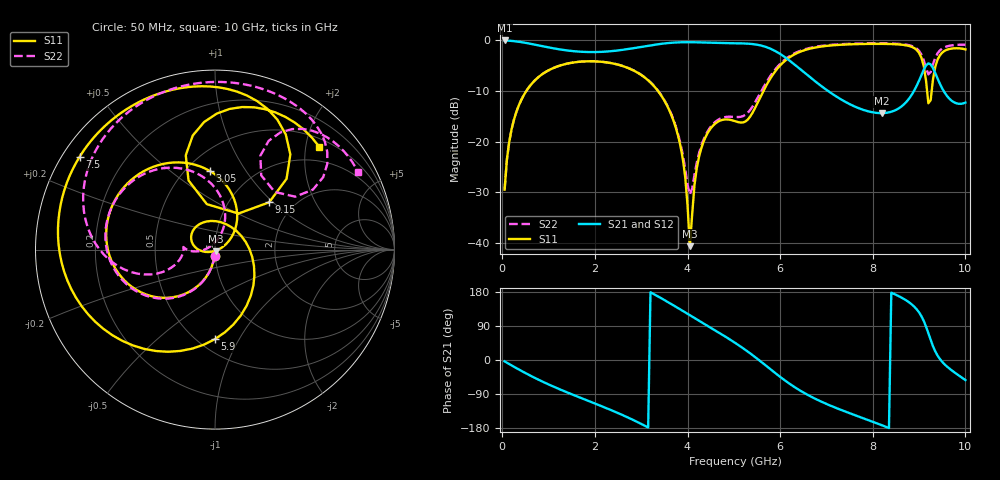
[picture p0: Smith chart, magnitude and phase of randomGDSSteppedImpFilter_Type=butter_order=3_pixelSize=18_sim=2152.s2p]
! freq	dB(S11)	phase(S11)	dB(S12)	phase(S12)
!  dB(S21)	phase(S21)	dB(S22)	phase(S22)
!S-par simulation data
#  GHz  S  DB  R 50
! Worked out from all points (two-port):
!   200 points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, 50 MHz to 10 GHz, reference 50 ohm
!   highest |S21| = -0.01 dB at 50 MHz (marker M1); lowest = -14.4 dB at 8.2 GHz (marker M2)
!   |S21| within 3 dB of the highest: start of sweep to 6.056 GHz
!   lowest |S11| = -40.6 dB at 4.05 GHz (marker M3), VSWR 1.02, Z = 50.4 - j0.858 ohm
!   |S11| at or under -10 dB: start of sweep to 517.9 MHz; 3.363 GHz to 5.637 GHz (2.274 GHz wide, 50.5 % of centre); 9.173 GHz to 9.272 GHz (98.84 MHz wide, 1.07 % of centre)
!   |S22| runs from -30.4 to -0.6 dB; largest |S21 - S12| = 0
!   S11 on the Smith chart (normalised r, x): 50 MHz: 0.99, -0.07; 3.05 GHz: 0.64, +0.70; 5.9 GHz: 0.60, -0.80; 7.5 GHz: 0.05, +0.31; 9.15 GHz: 1.51, +0.95; 10 GHz: 0.67, +2.28
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0.05  -29.44 -93.7  -0.01 -3.6  -0.01 -3.6  -29.44 -93.6
0.2  -17.57 -104.8  -0.10 -14.2  -0.10 -14.2  -17.57 -104.5
0.5  -10.25 -125.4  -0.48 -34.5  -0.48 -34.5  -10.24 -124.7
1.75  -4.16 165.4  -2.26 -102.7  -2.26 -102.7  -4.15 168.5
3.05  -7.14 93.8  -1.21 -171.7  -1.21 -171.7  -7.11 104.2
3.4  -10.45 69.2  -0.71 165.2  -0.71 165.2  -10.38 84.7
3.85  -20.96 31.5  -0.37 133.0  -0.37 133.0  -20.48 68.8
4.05  -40.60 -65.9  -0.35 118.3  -0.35 118.3  -30.40 124.4
4.15  -28.53 -158.6  -0.37 111.0  -0.37 111.0  -26.50 173.5
4.35  -19.90 177.0  -0.42 96.3  -0.42 96.3  -19.49 -174.4
5.05  -16.01 88.1  -0.57 43.4  -0.57 43.4  -15.12 177.8
5.9  -6.03 -90.1  -2.13 -35.1  -2.13 -35.1  -5.66 -168.0
6.7  -1.51 -168.3  -7.67 -98.8  -7.67 -98.8  -1.37 143.5
7.5  -0.78 145.6  -12.57 -140.3  -12.57 -140.3  -0.67 106.1
8.2  -0.68 112.5  -14.35 -172.2  -14.35 -172.2  -0.59 77.9
8.35  -0.71 105.2  -14.20 -179.6  -14.20 -179.6  -0.61 71.7
8.85  -1.31 74.2  -10.60 145.8  -10.60 145.8  -1.13 47.6
9.15  -7.94 41.1  -4.95 88.1  -4.95 88.1  -5.42 33.4
9.25  -11.80 100.1  -4.73 52.6  -4.73 52.6  -6.25 58.1
9.35  -5.19 107.2  -6.46 22.6  -6.46 22.6  -3.40 63.7
9.6  -1.85 79.2  -10.93 -17.0  -10.93 -17.0  -1.19 47.7
10  -1.77 44.4  -12.28 -53.0  -12.28 -53.0  -0.85 28.6
